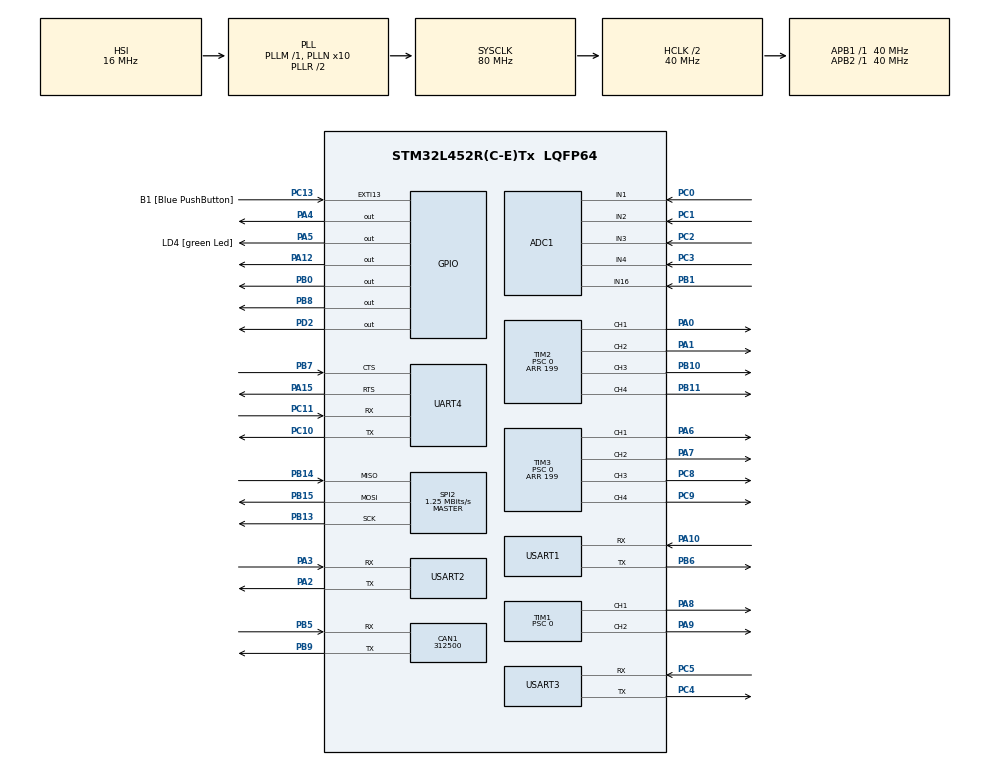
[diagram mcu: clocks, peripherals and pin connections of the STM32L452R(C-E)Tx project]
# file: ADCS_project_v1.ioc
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ADC1.Channel-0\#ChannelRegularConversion=ADC_CHANNEL_1
ADC1.Channel-1\#ChannelRegularConversion=ADC_CHANNEL_2
ADC1.Channel-2\#ChannelRegularConversion=ADC_CHANNEL_3
ADC1.Channel-3\#ChannelRegularConversion=ADC_CHANNEL_4
ADC1.Channel-4\#ChannelRegularConversion=ADC_CHANNEL_16
ADC1.ClockPrescaler=ADC_CLOCK_ASYNC_DIV2
ADC1.ContinuousConvMode=ENABLE
ADC1.DMAContinuousRequests=DISABLE
ADC1.NbrOfConversion=5
ADC1.NbrOfConversionFlag=1
ADC1.OffsetNumber-0\#ChannelRegularConversion=ADC_OFFSET_NONE
ADC1.OffsetNumber-1\#ChannelRegularConversion=ADC_OFFSET_NONE
ADC1.OffsetNumber-2\#ChannelRegularConversion=ADC_OFFSET_NONE
ADC1.OffsetNumber-3\#ChannelRegularConversion=ADC_OFFSET_NONE
ADC1.OffsetNumber-4\#ChannelRegularConversion=ADC_OFFSET_NONE
ADC1.OversamplingMode=ENABLE
ADC1.Rank-0\#ChannelRegularConversion=1
ADC1.Rank-1\#ChannelRegularConversion=2
ADC1.Rank-2\#ChannelRegularConversion=3
ADC1.Rank-3\#ChannelRegularConversion=4
ADC1.Rank-4\#ChannelRegularConversion=5
ADC1.Ratio=ADC_OVERSAMPLING_RATIO_16
ADC1.RightBitShift=ADC_RIGHTBITSHIFT_4
ADC1.SamplingTime-0\#ChannelRegularConversion=ADC_SAMPLETIME_2CYCLES_5
ADC1.SamplingTime-1\#ChannelRegularConversion=ADC_SAMPLETIME_2CYCLES_5
ADC1.SamplingTime-2\#ChannelRegularConversion=ADC_SAMPLETIME_2CYCLES_5
ADC1.SamplingTime-3\#ChannelRegularConversion=ADC_SAMPLETIME_2CYCLES_5
ADC1.SamplingTime-4\#ChannelRegularConversion=ADC_SAMPLETIME_2CYCLES_5
ADC1.master=1
CAN1.BS1=CAN_BS1_6TQ
CAN1.BS2=CAN_BS2_1TQ
CAN1.CalculateBaudRate=312500
CAN1.CalculateTimeBit=3200
CAN1.CalculateTimeQuantum=400.0
FREERTOS.BinarySemaphores01=setAttitudeSem,Static,setAttitudeSemControlBlock
FREERTOS.MEMORY_ALLOCATION=1
FREERTOS.Tasks01=defaultTask,0,128,StartDefaultTask,Default,NULL,Static,defaultTaskBuffer,defaultTaskControlBlock
FREERTOS.configUSE_TIMERS=1
Mcu.Family=STM32L4
Mcu.Name=STM32L452R(C-E)Tx
Mcu.Package=LQFP64
NVIC.PriorityGroup=NVIC_PRIORITYGROUP_4
NVIC.TIM6_DAC_IRQn=true\:15\:0\:false\:false\:true\:false\:false\:true\:true
NVIC.TimeBase=TIM6_DAC_IRQn
NVIC.TimeBaseIP=TIM6
NVIC.UART4_IRQn=true\:5\:0\:false\:false\:true\:true\:true\:true\:true
NVIC.USART1_IRQn=true\:5\:0\:false\:false\:true\:true\:true\:true\:true
NVIC.USART2_IRQn=true\:5\:0\:false\:false\:true\:true\:true\:true\:true
NVIC.USART3_IRQn=true\:5\:0\:false\:false\:true\:true\:true\:true\:true
PA0.Signal=S_TIM2_CH1
PA1.Signal=S_TIM2_CH2
PA10.Mode=Asynchronous
PA10.Signal=USART1_RX
PA12.PinState=GPIO_PIN_SET
PA12.Signal=GPIO_Output
PA13\ (JTMS/SWDIO).GPIO_Label=TMS
PA13\ (JTMS/SWDIO).Mode=Serial_Wire
PA13\ (JTMS/SWDIO).Signal=SYS_JTMS-SWDIO
PA14\ (JTCK/SWCLK).GPIO_Label=TCK
PA14\ (JTCK/SWCLK).Mode=Serial_Wire
PA14\ (JTCK/SWCLK).Signal=SYS_JTCK-SWCLK
PA15\ (JTDI).Mode=CTS_RTS
PA15\ (JTDI).Signal=UART4_RTS
PA2.Mode=Asynchronous
PA2.Signal=USART2_TX
PA3.Mode=Asynchronous
PA3.Signal=USART2_RX
PA4.Signal=GPIO_Output
PA5.GPIO_Label=LD4 [green Led]
PA5.GPIO_ModeDefaultOutputPP=GPIO_MODE_OUTPUT_PP
PA5.GPIO_PuPd=GPIO_NOPULL
PA5.GPIO_Speed=GPIO_SPEED_FREQ_LOW
PA5.Signal=GPIO_Output
PA6.Signal=S_TIM3_CH1
PA7.Signal=S_TIM3_CH2
PA8.Signal=S_TIM1_CH1
PA9.Signal=S_TIM1_CH2
PB0.Signal=GPIO_Output
PB1.Signal=ADCx_IN16
PB10.Signal=S_TIM2_CH3
PB11.Signal=S_TIM2_CH4
PB13.Mode=Full_Duplex_Master
PB13.Signal=SPI2_SCK
PB14.Mode=Full_Duplex_Master
PB14.Signal=SPI2_MISO
PB15.Mode=Full_Duplex_Master
PB15.Signal=SPI2_MOSI
PB3\ (JTDO/TRACESWO).GPIO_Label=SWO
PB3\ (JTDO/TRACESWO).Signal=SYS_JTDO-SWO
PB5.Mode=CAN_Activate
PB5.Signal=CAN1_RX
PB6.Mode=Asynchronous
PB6.Signal=USART1_TX
PB7.Mode=CTS_RTS
PB7.Signal=UART4_CTS
PB8.Signal=GPIO_Output
PB9.Mode=CAN_Activate
PB9.Signal=CAN1_TX
PC0.Signal=ADCx_IN1
PC1.Signal=ADCx_IN2
PC10.Mode=Asynchronous
PC10.Signal=UART4_TX
PC11.Mode=Asynchronous
PC11.Signal=UART4_RX
PC13.GPIO_Label=B1 [Blue PushButton]
PC13.GPIO_ModeDefaultEXTI=GPIO_MODE_IT_FALLING
PC13.GPIO_PuPd=GPIO_NOPULL
PC13.Signal=GPXTI13
PC2.Signal=ADCx_IN3
PC3.Signal=ADCx_IN4
PC4.Mode=Asynchronous
PC4.Signal=USART3_TX
PC5.Mode=Asynchronous
PC5.Signal=USART3_RX
PC8.Signal=S_TIM3_CH3
PC9.Signal=S_TIM3_CH4
PD2.Signal=GPIO_Output
ProjectManager.HeapSize=0x200
ProjectManager.StackSize=0x400
ProjectManager.TargetToolchain=STM32CubeIDE
RCC.ADCFreq_Value=32000000
RCC.AHBCLKDivider=RCC_SYSCLK_DIV2
RCC.AHBFreq_Value=40000000
RCC.APB1Freq_Value=40000000
RCC.APB1TimFreq_Value=40000000
RCC.APB2Freq_Value=40000000
RCC.APB2TimFreq_Value=40000000
RCC.CortexFreq_Value=40000000
RCC.FLatency-AdvancedSettings=FLASH_LATENCY_2
RCC.HCLKFreq_Value=40000000
RCC.HSE_VALUE=8000000
RCC.HSI48_VALUE=48000000
RCC.HSI_VALUE=16000000
RCC.LSE_VALUE=32768
RCC.MSI_VALUE=4000000
RCC.PLLN=10
RCC.PLLSAI1R=RCC_PLLR_DIV4
RCC.PLLSourceVirtual=RCC_PLLSOURCE_HSI
RCC.PREFETCH_ENABLE=1
RCC.SYSCLKFreq_VALUE=80000000
RCC.SYSCLKSource=RCC_SYSCLKSOURCE_PLLCLK
RCC.USBFreq_Value=64000000
RCC.VCOOutputFreq_Value=160000000
SH.ADCx_IN1.0=ADC1_IN1,IN1-Single-Ended
SH.ADCx_IN16.0=ADC1_IN16,IN16-Single-Ended
SH.ADCx_IN2.0=ADC1_IN2,IN2-Single-Ended
SH.ADCx_IN3.0=ADC1_IN3,IN3-Single-Ended
SH.ADCx_IN4.0=ADC1_IN4,IN4-Single-Ended
SH.S_TIM1_CH1.0=TIM1_CH1,PWM Generation1 CH1
SH.S_TIM1_CH2.0=TIM1_CH2,PWM Generation2 CH2
SH.S_TIM2_CH1.0=TIM2_CH1,PWM Generation1 CH1
SH.S_TIM2_CH2.0=TIM2_CH2,PWM Generation2 CH2
SH.S_TIM2_CH3.0=TIM2_CH3,PWM Generation3 CH3
SH.S_TIM2_CH4.0=TIM2_CH4,PWM Generation4 CH4
SH.S_TIM3_CH1.0=TIM3_CH1,PWM Generation1 CH1
SH.S_TIM3_CH2.0=TIM3_CH2,PWM Generation2 CH2
SH.S_TIM3_CH3.0=TIM3_CH3,PWM Generation3 CH3
SH.S_TIM3_CH4.0=TIM3_CH4,PWM Generation4 CH4
SPI2.BaudRatePrescaler=SPI_BAUDRATEPRESCALER_32
SPI2.CLKPhase=SPI_PHASE_1EDGE
SPI2.CLKPolarity=SPI_POLARITY_LOW
SPI2.CalculateBaudRate=1.25 MBits/s
SPI2.DataSize=SPI_DATASIZE_8BIT
SPI2.Direction=SPI_DIRECTION_2LINES
SPI2.Mode=SPI_MODE_MASTER
SPI2.VirtualType=VM_MASTER
TIM1.Channel-PWM\ Generation1\ CH1=TIM_CHANNEL_1
TIM1.Channel-PWM\ Generation2\ CH2=TIM_CHANNEL_2
TIM1.Period=199
TIM1.Prescaler=0
TIM2.Channel-PWM\ Generation1\ CH1=TIM_CHANNEL_1
TIM2.Channel-PWM\ Generation2\ CH2=TIM_CHANNEL_2
TIM2.Channel-PWM\ Generation3\ CH3=TIM_CHANNEL_3
TIM2.Channel-PWM\ Generation4\ CH4=TIM_CHANNEL_4
TIM2.Period=199
TIM2.Prescaler=0
TIM3.Channel-PWM\ Generation1\ CH1=TIM_CHANNEL_1
TIM3.Channel-PWM\ Generation2\ CH2=TIM_CHANNEL_2
TIM3.Channel-PWM\ Generation3\ CH3=TIM_CHANNEL_3
TIM3.Channel-PWM\ Generation4\ CH4=TIM_CHANNEL_4
TIM3.Period=199
TIM3.Prescaler=0
USART1.VirtualMode-Asynchronous=VM_ASYNC
USART2.VirtualMode-Asynchronous=VM_ASYNC
USART3.VirtualMode-Asynchronous=VM_ASYNC
VP_FREERTOS_VS_CMSIS_V1.Mode=CMSIS_V1
VP_SYS_VS_tim6.Mode=TIM6
VP_TIM1_VS_ClockSourceINT.Mode=Internal
VP_TIM2_VS_ClockSourceINT.Mode=Internal
VP_TIM3_VS_ClockSourceINT.Mode=Internal
board=NUCLEO-L452RE

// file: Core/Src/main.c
/* USER CODE BEGIN Header */
/**
  ******************************************************************************
  * @file           : main.c
  * @brief          : Main program body
  ******************************************************************************
  * @attention
  *
  * Copyright (c) 2024 STMicroelectronics.
  * All rights reserved.
  *
  * This software is licensed under terms that can be found in the LICENSE file
  * in the root directory of this software component.
  * If no LICENSE file comes with this software, it is provided AS-IS.
  *
  ******************************************************************************
  */
/* USER CODE END Header */
#include "main.h"
#include "cmsis_os.h"
#include "adc.h"
#include "can.h"
#include "spi.h"
#include "tim.h"
#include "usart.h"
#include "gpio.h"

void SystemClock_Config(void);
void MX_FREERTOS_Init(void);

int main(void)
{

  /* MCU Configuration--------------------------------------------------------*/

  /* Reset of all peripherals, Initializes the Flash interface and the Systick. */
  HAL_Init();

  /* Configure the system clock */
  SystemClock_Config();

  /* Initialize all configured peripherals */
  MX_GPIO_Init();
  MX_USART2_UART_Init();
  MX_UART4_Init();
  MX_USART1_UART_Init();
  MX_USART3_UART_Init();
  MX_CAN1_Init();
  MX_TIM1_Init();
  MX_TIM2_Init();
  MX_TIM3_Init();
  MX_ADC1_Init();
  MX_SPI2_Init();

  /* Call init function for freertos objects (in freertos.c) */
  MX_FREERTOS_Init();

  /* Start scheduler */
  osKernelStart();

  /* We should never get here as control is now taken by the scheduler */
  /* Infinite loop */
  while (1)
  {

  }
}

void SystemClock_Config(void)
{
  RCC_OscInitTypeDef RCC_OscInitStruct = {0};
  RCC_ClkInitTypeDef RCC_ClkInitStruct = {0};

  /** Configure the main internal regulator output voltage
  */
  if (HAL_PWREx_ControlVoltageScaling(PWR_REGULATOR_VOLTAGE_SCALE1) != HAL_OK)
  {
    Error_Handler();
  }

  /** Initializes the RCC Oscillators according to the specified parameters
  * in the RCC_OscInitTypeDef structure.
  */
  RCC_OscInitStruct.OscillatorType = RCC_OSCILLATORTYPE_HSI;
  RCC_OscInitStruct.HSIState = RCC_HSI_ON;
  RCC_OscInitStruct.HSICalibrationValue = RCC_HSICALIBRATION_DEFAULT;
  RCC_OscInitStruct.PLL.PLLState = RCC_PLL_ON;
  RCC_OscInitStruct.PLL.PLLSource = RCC_PLLSOURCE_HSI;
  RCC_OscInitStruct.PLL.PLLM = 1;
  RCC_OscInitStruct.PLL.PLLN = 10;
  RCC_OscInitStruct.PLL.PLLP = RCC_PLLP_DIV7;
  RCC_OscInitStruct.PLL.PLLQ = RCC_PLLQ_DIV2;
  RCC_OscInitStruct.PLL.PLLR = RCC_PLLR_DIV2;
  if (HAL_RCC_OscConfig(&RCC_OscInitStruct) != HAL_OK)
  {
    Error_Handler();
  }

  /** Initializes the CPU, AHB and APB buses clocks
  */
  RCC_ClkInitStruct.ClockType = RCC_CLOCKTYPE_HCLK|RCC_CLOCKTYPE_SYSCLK
                              |RCC_CLOCKTYPE_PCLK1|RCC_CLOCKTYPE_PCLK2;
  RCC_ClkInitStruct.SYSCLKSource = RCC_SYSCLKSOURCE_PLLCLK;
  RCC_ClkInitStruct.AHBCLKDivider = RCC_SYSCLK_DIV2;
  RCC_ClkInitStruct.APB1CLKDivider = RCC_HCLK_DIV1;
  RCC_ClkInitStruct.APB2CLKDivider = RCC_HCLK_DIV1;

  if (HAL_RCC_ClockConfig(&RCC_ClkInitStruct, FLASH_LATENCY_2) != HAL_OK)
  {
    Error_Handler();
  }
}

void HAL_TIM_PeriodElapsedCallback(TIM_HandleTypeDef *htim)
{
  if (htim->Instance == TIM6) {
    HAL_IncTick();
  }
}

void Error_Handler(void)
{
  __disable_irq();
  while (1)
  {
  }
}

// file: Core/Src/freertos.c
/* USER CODE BEGIN Header */
/**
  ******************************************************************************
  * File Name          : freertos.c
  * Description        : Code for freertos applications
  ******************************************************************************
  * @attention
  *
  * Copyright (c) 2024 STMicroelectronics.
  * All rights reserved.
  *
  * This software is licensed under terms that can be found in the LICENSE file
  * in the root directory of this software component.
  * If no LICENSE file comes with this software, it is provided AS-IS.
  *
  ******************************************************************************
  */
/* USER CODE END Header */

#include "FreeRTOS.h"
#include "task.h"
#include "main.h"
#include "cmsis_os.h"

/* USER CODE BEGIN Includes */
#include <stdio.h> //for printf()
#include <string.h> //for memcpy()
#include <stdbool.h>
#include <math.h>
#include "usart.h"
#include "sensors.h"
#include "pid_conversions.h"
#include "UARTdriver.h"
#include "spi.h"
#include "adc.h"
#include "MTi1.h"
#include "simpleDataLink.h"
#include "messages.h"
#include "actuator_driver.h"
#include "pid_conversions.h"
#include "queue.h"
#include "tim.h"
#include <stm32l452xx.h>
#include <malloc.h>
#include "queue_structs.h"
#include "constants.h"
/* USER CODE END Includes */

/* USER CODE BEGIN PTD */
Temp_values ntc_values;
PID_Inputs_struct PID_Inputs;
Actuator_struct Reaction1;
Actuator_struct Reaction2;
Actuator_struct MagneTorquer1;
Actuator_struct MagneTorquer2;
Actuator_struct MagneTorquer3;
/* USER CODE END PTD */

/* USER CODE BEGIN Variables */
uint8_t Channels_mask[NUM_DRIVERS] = {1,1,1,1,1};
uint8_t error_status = 0;

osThreadId FirstCheckTaskHandle;
uint32_t FirstCheckTaskBuffer[ stack_size ];//4096
osStaticThreadDef_t FirstCheckTaskControlBlock;

osThreadId ControlAlgorithmTaskHandle;
uint32_t ControlAlgorithmTaskBuffer[ stack_size ]; //4096
osStaticThreadDef_t ControlAlgorithmTaskControlBlock;

osThreadId IMUTaskHandle;
uint32_t IMUTaskBuffer[ stack_size]; //4096
osStaticThreadDef_t IMUTaskControlBlock;

osThreadId OBC_CommTaskHandle;
uint32_t OBC_CommTaskBuffer[ stack_size1 ]; //16384
osStaticThreadDef_t OBC_CommTaskControlBlock;

xSemaphoreHandle ADCSHouseKeepingMutex;
StaticSemaphore_t xADCSHouseKeepingMutexBuffer;
xSemaphoreHandle ControlMutex;
StaticSemaphore_t xControlMutexBuffer;
xSemaphoreHandle IMURead_ControlMutex;
StaticSemaphore_t xIMURead_ControlMutexBuffer;

osMessageQId ADCSHouseKeepingQueueHandle;
uint8_t ADCSHouseKeepingQueueBuffer[ 256 * sizeof( float ) ];
osStaticMessageQDef_t ADCSHouseKeepingQueueControlBlock;
osMessageQId IMUQueue1Handle;
uint8_t IMUQueue1Buffer[ 256 * sizeof( imu_queue_struct ) ];
osStaticMessageQDef_t IMUQueue1ControlBlock;
osMessageQId IMUQueue2Handle;
uint8_t IMUQueue2Buffer[ 256 * sizeof( imu_queue_struct ) ];
osStaticMessageQDef_t IMUQueue2ControlBlock;
osMessageQId setAttitudeADCSQueueHandle;
uint8_t setAttitudeADCSQueueBuffer[ 256 * sizeof( float ) ];
osStaticMessageQDef_t setAttitudeADCSQueueControlBlock;
osMessageQId setOpModeADCSQueueHandle;
uint8_t setOpModeADCSQueueBuffer[ 32 * sizeof( uint8_t ) ];
osStaticMessageQDef_t setOpModeADCSQueueControlBlock;

/* USER CODE END Variables */
osThreadId defaultTaskHandle;
uint32_t defaultTaskBuffer[ 128 ];
osStaticThreadDef_t defaultTaskControlBlock;

osSemaphoreId setAttitudeSemHandle;
osStaticSemaphoreDef_t setAttitudeSemControlBlock;

/* USER CODE BEGIN FunctionPrototypes */
void Check_current_temp(void const * argument);
void Control_Algorithm_Task(void const * argument);
void IMU_Task(void const * argument);
void OBC_Comm_Task(void const * argument);

//defining serial line I/O functions
//using UART driver
uint8_t txFunc1(uint8_t byte){
	return (sendDriver_UART(&huart1, &byte, 1)!=0);
}
uint8_t rxFunc1(uint8_t* byte){
	return (receiveDriver_UART(&huart1, byte, 1)!=0);
}

uint8_t txFunc4(uint8_t byte){
	return (sendDriver_UART(&huart4, &byte, 1)!=0);
}
uint8_t rxFunc4(uint8_t* byte){
	return (receiveDriver_UART(&huart4, byte, 1)!=0);
}

//defining tick function for timeouts
uint32_t sdlTimeTick(){
	return HAL_GetTick();
}

//defining putch to enable printf
#ifdef __GNUC__
#define PUTCHAR_PROTOTYPE int __io_putchar(int ch)
#else
#define PUTCHAR_PROTOTYPE int fputc(int ch, FILE *f)
#endif

/*PUTCHAR_PROTOTYPE{
   HAL_UART_Transmit(&huart2, (uint8_t *)&ch, 1, HAL_MAX_DELAY);
   return ch;
}*/
PUTCHAR_PROTOTYPE{
	uint8_t c=(uint8_t)ch;
	sendDriver_UART(&huart2,&c,1);
	return c;
}

/* USER CODE END FunctionPrototypes */

void StartDefaultTask(void const * argument);

void MX_FREERTOS_Init(void); /* (MISRA C 2004 rule 8.1) */

/* GetIdleTaskMemory prototype (linked to static allocation support) */
void vApplicationGetIdleTaskMemory( StaticTask_t **ppxIdleTaskTCBBuffer, StackType_t **ppxIdleTaskStackBuffer, uint32_t *pulIdleTaskStackSize );

/* GetTimerTaskMemory prototype (linked to static allocation support) */
void vApplicationGetTimerTaskMemory( StaticTask_t **ppxTimerTaskTCBBuffer, StackType_t **ppxTimerTaskStackBuffer, uint32_t *pulTimerTaskStackSize );

/* USER CODE BEGIN GET_IDLE_TASK_MEMORY */
static StaticTask_t xIdleTaskTCBBuffer;
static StackType_t xIdleStack[configMINIMAL_STACK_SIZE];

void vApplicationGetIdleTaskMemory( StaticTask_t **ppxIdleTaskTCBBuffer, StackType_t **ppxIdleTaskStackBuffer, uint32_t *pulIdleTaskStackSize )
{
  *ppxIdleTaskTCBBuffer = &xIdleTaskTCBBuffer;
  *ppxIdleTaskStackBuffer = &xIdleStack[0];
  *pulIdleTaskStackSize = configMINIMAL_STACK_SIZE;
  /* place for user code */
}
/* USER CODE END GET_IDLE_TASK_MEMORY */

/* USER CODE BEGIN GET_TIMER_TASK_MEMORY */
static StaticTask_t xTimerTaskTCBBuffer;
static StackType_t xTimerStack[configTIMER_TASK_STACK_DEPTH];

void vApplicationGetTimerTaskMemory( StaticTask_t **ppxTimerTaskTCBBuffer, StackType_t **ppxTimerTaskStackBuffer, uint32_t *pulTimerTaskStackSize )
{
  *ppxTimerTaskTCBBuffer = &xTimerTaskTCBBuffer;
  *ppxTimerTaskStackBuffer = &xTimerStack[0];
  *pulTimerTaskStackSize = configTIMER_TASK_STACK_DEPTH;
  /* place for user code */
}
/* USER CODE END GET_TIMER_TASK_MEMORY */

void MX_FREERTOS_Init(void) {
  /* USER CODE BEGIN Init */

	initDriver_UART();
	//UART1 = for printf
	addDriver_UART(&huart2,USART2_IRQn,keep_old);
	//UART1 = for OBC communication
	addDriver_UART(&huart1,USART1_IRQn,keep_old);
	//UART1 = for IMU
	addDriver_UART(&huart4,UART4_IRQn,keep_new);
	//UART3 = for Sun Sensors Acquisition
	//addDriver_UART(&huart3,USART3_IRQn,keep_old);

  /* USER CODE END Init */

  /* USER CODE BEGIN RTOS_MUTEX */
  /* add mutexes, ... */
	ControlMutex = xSemaphoreCreateMutexStatic(&xControlMutexBuffer);
	configASSERT(ControlMutex);
	xSemaphoreGive(ControlMutex);
	IMURead_ControlMutex = xSemaphoreCreateMutexStatic(&xIMURead_ControlMutexBuffer);
	configASSERT(IMURead_ControlMutex);
	xSemaphoreGive(IMURead_ControlMutex);

  /* USER CODE END RTOS_MUTEX */

  /* Create the semaphores(s) */
  /* definition and creation of setAttitudeSem */
	osSemaphoreStaticDef(setAttitudeSem, &setAttitudeSemControlBlock);
	setAttitudeSemHandle = osSemaphoreCreate(osSemaphore(setAttitudeSem), 1);

  /* USER CODE BEGIN RTOS_QUEUES */
  /* add queues, ... */
  /* definition and creation of IMUQueue1 */
	osMessageQStaticDef(IMUQueue1, 512, uint32_t,IMUQueue1Buffer, &IMUQueue1ControlBlock);
	IMUQueue1Handle = osMessageCreate(osMessageQ(IMUQueue1), NULL);
  /* definition and creation of IMUQueue2 */
	osMessageQStaticDef(IMUQueue2, 512, uint32_t, IMUQueue2Buffer, &IMUQueue2ControlBlock);
	IMUQueue2Handle = osMessageCreate(osMessageQ(IMUQueue2), NULL);
  /* definition and creation of ADCSHouseKeepingQueue */
	osMessageQStaticDef(ADCSHouseKeepingQueue, 512, uint32_t, ADCSHouseKeepingQueueBuffer, &ADCSHouseKeepingQueueControlBlock);
	ADCSHouseKeepingQueueHandle = osMessageCreate(osMessageQ(ADCSHouseKeepingQueue), NULL);
  /* definition and creation of setAttitudeADCSQueue */
	osMessageQStaticDef(setAttitudeADCSQueue, 512, uint32_t,setAttitudeADCSQueueBuffer, &setAttitudeADCSQueueControlBlock);
	setAttitudeADCSQueueHandle = osMessageCreate(osMessageQ(setAttitudeADCSQueue), NULL);
  /* definition and creation of setOpModeADCSQueue */
	osMessageQStaticDef(setOpModeADCSQueue, 32, uint32_t,setOpModeADCSQueueBuffer, &setOpModeADCSQueueControlBlock);
	setOpModeADCSQueueHandle = osMessageCreate(osMessageQ(setOpModeADCSQueue), NULL);

  /* USER CODE END RTOS_QUEUES */

  /* Create the thread(s) */
  /* definition and creation of defaultTask */
	osThreadStaticDef(defaultTask, StartDefaultTask, osPriorityNormal, 0, 128, defaultTaskBuffer, &defaultTaskControlBlock);
	defaultTaskHandle = osThreadCreate(osThread(defaultTask), NULL);

  /* USER CODE BEGIN RTOS_THREADS */
  /* add threads, ... */
  /* definition and creation of FirstCheckTask */
    osThreadStaticDef(FirstCheckTask, Check_current_temp, osPriorityAboveNormal, 0, stack_size, FirstCheckTaskBuffer, &FirstCheckTaskControlBlock);
  	FirstCheckTaskHandle = osThreadCreate(osThread(FirstCheckTask), NULL);
  /* definition and creation of ControlAlgorithmTask */
	osThreadStaticDef(ControlAlgorithmTask, Control_Algorithm_Task, osPriorityNormal, 0,stack_size, ControlAlgorithmTaskBuffer, &ControlAlgorithmTaskControlBlock);
	ControlAlgorithmTaskHandle = osThreadCreate(osThread(ControlAlgorithmTask), NULL);
  /* definition and creation of IMUTask */
	osThreadStaticDef(IMUTask, IMU_Task, osPriorityNormal, 0,stack_size, IMUTaskBuffer, &IMUTaskControlBlock);
	IMUTaskHandle = osThreadCreate(osThread(IMUTask), NULL);
  /* definition and creation of OBC_CommTaskHandle */
	osThreadStaticDef(OBC_CommTask, OBC_Comm_Task, osPriorityAboveNormal, 0,stack_size1, OBC_CommTaskBuffer, &OBC_CommTaskControlBlock);
	OBC_CommTaskHandle = osThreadCreate(osThread(OBC_CommTask), NULL);

  /* USER CODE END RTOS_THREADS */

}

void StartDefaultTask(void const * argument)
{
  for(;;)
  {
    osDelay(1);
  }
}

/* USER CODE BEGIN Application */

void Check_current_temp(void const * argument)
{
  /* USER CODE BEGIN Check_pwr_temp */
	//declaring serial line
	//static serial_line_handle line;
	//Inizialize Serial Line for UART3
	//sdlInitLine(&line,&txFunc3,&rxFunc3,50,2);
	init_tempsens_handler(&ntc_values);
	volatile float currentbuf[NUM_ACTUATORS],voltagebuf[NUM_ACTUATORS];
	Current_Temp_Struct *local_current_temp_struct = (Current_Temp_Struct*) malloc(sizeof(Current_Temp_Struct));
	static uint8_t count = 0;

	/*Start calibration */
	if (HAL_ADCEx_Calibration_Start(&hadc1, ADC_SINGLE_ENDED) !=  HAL_OK)
	{
#if enable_printf
	  	printf("Error with ADC: not calibrated correctly \n");
#endif
	}

	/* Infinite loop */
	for(;;)
	{
		//volatile float prev = HAL_GetTick();
		//printf("We are in CHECK TASK \n");
#if enable_printf
		//printf("We are in CHECK TASK \n");
#endif
		//----------------------------------------------------------------------

		//GET TEMPERATURES------------------------------------------------------
		//float prev1 = HAL_GetTick();
		get_temperatures(&hspi2,&ntc_values,count);
		//float next1 = HAL_GetTick();
		//printf("Execussion of get_temperatures: %.1f ms\n",next1-prev1);
		count ++;
		//----------------------------------------------------------------------

		//GET ACTUATORS CURRENT
		get_actuator_current(&hadc1,voltagebuf,currentbuf,Channels_mask);
		/*for(int i=0;i<NUM_DRIVERS;i++)
		{
			printf("Actuator %d current value: %f",i,currentbuf[i]);
		}*/
		//----------------------------------------------------------------------

		//CHECK IF THEY ARE OK
		/*for(int i=0;i<NUM_ACTUATORS;i++)
		{
			if(i>=0 && i<2)
			{
				//Check Reaction Wheels currents
				if(current_buf[i] > 1.0f) //> 1A
				{
					printf("MAgnetorquer %d current value: %f is above threshold!!!! ",i,currentbuf[i]);
					error_status = 5;
				}
			}
			else{
				//Check MagneTorquers currents
				if(current_buf[i] > 0.05f) // >50mA
				{
					printf("Magnetorquer %d current value: %f is above threshold!!!! ",i,currentbuf[i]);
					error_status = 4;
				}
			}
		}

		for(int i=0;i<NUM_TEMP_SENS;i++)
		{
			if(ntc_values.temp[i]>50) //>50 gradi
			{
				printf("Temp %d value: %f is above threshold!!!! ",i,ntc_values.temp[i]);
				error_status = 3;
			}

		}
		 */
		switch(error_status)
		{
			case 0:
				//ALL IS OK
				//Send Housekeeping to OBC task

				if (local_current_temp_struct == NULL) {
#if enable_printf
					   printf("IMU TASK: allocazione struttura fallita !\n");
#endif
				}
				else
				{
					if(count == 8)
					{
						for(int i=0;i<NUM_ACTUATORS;i++)
						{
							local_current_temp_struct->current[i] = currentbuf[i];
#if enable_printf
							printf("Task check: Current n%d,value: %f,current vect:%f \n",i+1,local_current_temp_struct->current[i],currentbuf[i]);
#endif
			    		}
						for(int i=NUM_ACTUATORS;i<NUM_TEMP_SENS+NUM_ACTUATORS;i++)
						{
							local_current_temp_struct->temperature[i - NUM_ACTUATORS] = ntc_values.temp[i - NUM_ACTUATORS];
#if enable_printf
							printf("Task check: Temperature n%d,ntc value: %f,value: %f \n",i-4,ntc_values.temp[i-NUM_ACTUATORS],local_current_temp_struct->temperature[i-NUM_ACTUATORS]);
#endif
						}

						//Invio queue a OBC Task
						if (osMessagePut(ADCSHouseKeepingQueueHandle,(uint32_t)local_current_temp_struct,300) != osOK) {
#if enable_printf
			    		   	printf("Invio a OBC Task fallito \n");
#endif
			       			free(local_current_temp_struct); // Ensure the receiving task has time to process
						} else {
#if enable_printf
			    		    printf("Dati Inviati a OBC Task\n");
#endif
						}
						count = 0;
					}
				}
				break;
			case 1:
				break;
			case 2:
				break;
			case 3:
				//PROBLEM WITH TEMPERATURE SENSORS
				//Fare partire un interrupt
				break;
			case 4:
				//PROBLEM WITH MAGNETORQUERS
				//Fare partire un interrupt
				break;
			case 5:
				//PROBLEM WITH REACTION WHEELS
				//Fare partire un interrupt
				break;

		}
		//volatile next = HAL_GetTick();
		//printf("Execussion of check task: %.1f ms\n",next-prev);
	    osDelay(300);
	  }
  /* USER CODE END Check_pwr_temp */
}

void OBC_Comm_Task(void const * argument)
{
  /* USER CODE BEGIN OBC_Comm_Task */
	static serial_line_handle line1;
	//Inizialize Serial Line for UART1
	sdlInitLine(&line1,&txFunc1,&rxFunc1,50,2);

	uint8_t opmode=0;
	uint32_t rxLen;

	setAttitudeADCS *RxAttitude = (setAttitudeADCS*) malloc(sizeof(setAttitudeADCS));
	housekeepingADCS TxHousekeeping;
	attitudeADCS TxAttitude;
	setOpmodeADCS RxOpMode;
	//opmodeADCS TxOpMode;
	osEvent retvalue1,retvalue;
	uint8_t cnt1 = 0,cnt2 = 0;
	char rxBuff[SDL_MAX_PAY_LEN];

  /* Infinite loop */
  for(;;)
  {
	  //printf("We are in OBC TASK \n");
#if enable_printf
	  //printf("We are in OBC TASK \n");
#endif
	  /*-------------------RECEIVE FROM OBC-------------------------*/
	  //trying to receive a message
	  rxLen=sdlReceive(&line1,(uint8_t *)rxBuff,sizeof(rxBuff));
	  if(rxLen){
#if enable_printf
	  	printf("OBC TASK: Received %lu bytes !!!!!!!!!!!!\n",rxLen);
#endif
	  	if(rxBuff[0]==SETOPMODEADCS_CODE && rxLen==sizeof(setOpmodeADCS)){
#if enable_printf
	  		printf("Received setOpmodeADCS message\n");
#endif
	  		//setOpmodeADCS msgStruct;
	  		memcpy(&RxOpMode,rxBuff,sizeof(setOpmodeADCS));
	  		opmode=RxOpMode.opmode;
#if enable_printf
	  		printf("Opmode changed to %u\n",opmode);
#endif
	  	}else if(rxBuff[0]==SETATTITUDEADCS_CODE && rxLen==sizeof(setAttitudeADCS)){
#if enable_printf
  			printf("OBC TASK:Received setAttitudeADCS message!!!!!!!!!\n");
#endif
  			//do something...
  			//Send opMode = setattitudeadcs to Control Task
			if (RxAttitude == NULL) {
#if enable_printf
					   printf("OBC TASK: allocazione struttura RxAttitude fallita !\n");
#endif
			}
			else
			{
				memcpy(RxAttitude,rxBuff,sizeof(setAttitudeADCS));
#if enable_printf
				printf("Desired Angular velocity in x: %f \n",RxAttitude->deltaomega_x);
				printf("Desired Angular velocity in y: %f \n",RxAttitude->deltaomega_y);
				printf("Desired Angular velocity in z: %f \n",RxAttitude->deltaomega_z);
				printf("Desired Magn Field in x: %f \n",RxAttitude->deltab_x);
				printf("Desired Magn Field in y: %f \n",RxAttitude->deltab_y);
				printf("Desired Magn Field in z: %f \n",RxAttitude->deltab_z);
#endif
				//Send Attitude Queue to Control Task
			 	if (osMessagePut(setAttitudeADCSQueueHandle,(uint32_t)RxAttitude,200) != osOK) {
#if enable_printf
			    	printf("Invio a Control Task fallito \n");
#endif
			       	free(RxAttitude); // Ensure the receiving task has time to process
				} else {
#if enable_printf
			        printf("Dati Inviati a Control Task\n");
#endif
			 	}
			}

	  	}else if(rxBuff[0]==ATTITUDEADCS_CODE && rxLen==sizeof(attitudeADCS)){
#if enable_printf
  			printf("Received attitudeADCS message\n");
#endif
  			//do something...
  			//(in theory this should never arrive to ADCS)
	  	}else if(rxBuff[0]==HOUSEKEEPINGADCS_CODE && rxLen==sizeof(housekeepingADCS)){
#if enable_printf
  			printf("Received housekeepingADCS message\n");
#endif
  			//do something...
  			//(in theory this should never arrive to ADCS)
	  	}else if(rxBuff[0]==OPMODEADCS_CODE && rxLen==sizeof(opmodeADCS)){
#if enable_printf
  			printf("Received opmodeADCS message\n");
#endif
  			//do something...
  			//(in theory this should never arrive to ADCS)
	  	}else{
#if enable_printf
  			printf("Message not recognized %u %lu\n",rxBuff[0],rxLen);
#endif
  		}
  	}
	  else
	  {
		  //printf("Didn't receive any packet \n");
#if enable_printf
		  printf("OBC TASK:  Message not recognized %u %lu\n",rxBuff[0],rxLen);
#endif
	  }

	 /*-------------------SEND TO OBC-------------------------*/
	//sampling
	  /* in theory here we should sample values and fill telemetry structures
	  telemetryStruct.temp1=...;
	  telemetryStruct.speed=...;
	  .....*/

	 //Receive HouseKeeping sensor values via Queue
	retvalue = osMessageGet(ADCSHouseKeepingQueueHandle,300);

	//printf("OBC Task: Tick_Time: %lu \n",HAL_GetTick());

	if (retvalue.status == osEventMessage)
	{
		cnt1++;
		processCombinedData((void*)&retvalue,(void *)&TxHousekeeping,receive_Current_Tempqueue_OBC);
		//attitude sampling
		//in this case we just send the local copy of the structure
		//ALWAYS remember to set message code (use the generated defines

		//printf("OBC: Trying to send attitude \n");
		//finally we send the message
		if(cnt1 == 1)
		{
			printf("OBC TASK: after 5 counts: %lu \n",HAL_GetTick());
			TxAttitude.code=ATTITUDEADCS_CODE;
			TxAttitude.ticktime=HAL_GetTick();
		if(sdlSend(&line1,(uint8_t *)&TxAttitude,sizeof(attitudeADCS),1)){
#if enable_printf
			printf("OBC : sent attitudeADCS bytes:%d \n",sizeof(attitudeADCS));
#endif
			/*sentAttitudeMessages++;
			if(sentAttitudeMessages==5)
			{
				printf("OBC: Sent %lu attitudeADCS messages bytes:%d\n",sentAttitudeMessages,sizeof(attitudeADCS));
				sentAttitudeMessages=0;
			}*/
			for(uint32_t y=0;y<sizeof(attitudeADCS);y++){
					//printf("%02x",((uint8_t *)&localAttitude)[y]);
			}
		}
		else{
#if enable_printf
			printf("OBC: Failed to send attitudeADCS \n");
#endif

		}
		cnt1 = 0;
		}
	}

	//Receive Telemetry IMU via Queue
	retvalue1 = osMessageGet(IMUQueue2Handle, 300);

	if (retvalue1.status == osEventMessage)
	{
		cnt2++;
		processCombinedData((void*)&retvalue1,(void *)&TxAttitude,receive_IMUqueue_OBC);
		//in this case we just fill the structure with random values
		//ALWAYS remember to set message code (use the generated defines
		if(cnt2 == 3)
		{
			printf("OBC TASK: after 7 counts: %lu \n",HAL_GetTick());
			TxHousekeeping.code=HOUSEKEEPINGADCS_CODE;
			TxHousekeeping.ticktime=HAL_GetTick();
			//printf("OBC: Trying to send housekeeping \n");
			//finally we send the message
		if(sdlSend(&line1,(uint8_t *)&TxHousekeeping,sizeof(housekeepingADCS),1))
		{
#if enable_printf
		  	printf("OBC: Sent housekeepingADCS bytes:%d \n",sizeof(housekeepingADCS));
#endif
		 	for(uint32_t y=0;y<sizeof(housekeepingADCS);y++){
		// 		printf("%02x",((uint8_t *)&TxHousekeeping)[y]);
			  }
		}
		else{
#if enable_printf
			printf("OBC: Failed to send housekeepingADCS \n");
#endif
		}
		cnt2 = 0;
		}

	}

	opmodeADCS opmodeMsg;
	opmodeMsg.opmode=opmode;
	//ALWAYS remember to set message code (use the generated defines
	opmodeMsg.code=OPMODEADCS_CODE;
	//finally we send the message (WITH ACK REQUESTED)
	//printf("OBC: Trying to send opmodeADCS \n");
	if(sdlSend(&line1,(uint8_t *)&opmodeMsg,sizeof(opmodeADCS),1))
	{
#if enable_printf
	  	printf("OBC : Sent opmodeADCS bytes:%d \n",sizeof(opmodeADCS));
#endif
	  for(uint32_t y=0;y<sizeof(opmodeADCS);y++){
	  	//printf("%02x",((uint8_t *)&opmodeMsg)[y]);
	  }
	//  printf("\n");
	}
	else{
#if enable_printf
		printf("OBC: Failed to send opmodeADCS \n");
#endif
	}

  	osDelay(400);
  }
  /* USER CODE END OBC_Comm_Task */
}

void Control_Algorithm_Task(void const * argument)
{
  /* USER CODE BEGIN Control_Algorithm_Task */
	uint8_t flag = 0;
	osEvent retvalue,retvalue1;

	//Inizialize actuators struct
	init_actuator_handler(&Reaction1,&htim1,TIM_CHANNEL_1,TIM_CHANNEL_2,100000,50); //100 khz
	init_actuator_handler(&Reaction2,&htim2,TIM_CHANNEL_3,TIM_CHANNEL_4,20000,50);
	init_actuator_handler(&MagneTorquer1,&htim3,TIM_CHANNEL_1,TIM_CHANNEL_2,89000,50); //89 khz
	init_actuator_handler(&MagneTorquer2,&htim3,TIM_CHANNEL_3,TIM_CHANNEL_4,10000,50);
	init_actuator_handler(&MagneTorquer3,&htim2,TIM_CHANNEL_1,TIM_CHANNEL_2,94000,50); //94 khz

	//Inizialize PID struct
	PID_INIT(&PID_Inputs);

	/* Infinite loop */
	for(;;)
	{
		//printf("We are in Control Algorithm TASK \n");
#if enable_printf
		//printf("We are in Control Algorithm TASK \n");
#endif
		//Receive Telemetry IMU via Queue

		retvalue1 = osMessageGet(setAttitudeADCSQueueHandle,200);
		processCombinedData((void*)&retvalue1,(void *)&PID_Inputs,receive_Attitudequeue_control);

		retvalue = osMessageGet(IMUQueue1Handle, 300);
		processCombinedData((void*)&retvalue,(void *)&PID_Inputs,receive_IMUqueue_control);

		//ALGORITHM
		//PID_main(&PID_Inputs);

		//Update PWM values
		//X Magnetorquer

		if(!flag)
		{
//			actuator_START(&Reaction1);
//			actuator_START(&Reaction2);
//			actuator_START(&MagneTorquer1);
//			actuator_START(&MagneTorquer2);
//			actuator_START(&MagneTorquer3);
			flag = 1;
		}

		//No change dir:
		//update_duty_dir(&Reaction1,50,0);
		//Change dir :
		//update_duty_dir(&MagneTorquer1,70,1);

		//X Magnetorquer
		//Change dir :
		//update_duty_dir(&MagneTorquer1,PID_Inputs.th_Dutycycle[0],1);
		//No change dir:
		//update_duty_dir(&MagneTorquer1,PID_Inputs.th_Dutycycle[0],0);
		//Y Magnetorquer
		//Change dir :
		//update_duty_dir(&MagneTorquer1,PID_Inputs.th_Dutycycle[1],1);
		//No change dir:
		//update_duty_dir(&MagneTorquer1,PID_Inputs.th_Dutycycle[1],0);
		//Z Magnetorquer
		//Change dir :
		//update_duty_dir(&MagneTorquer1,PID_Inputs.th_Dutycycle[2],1);
		//No change dir:
		//update_duty_dir(&MagneTorquer1,PID_Inputs.th_Dutycycle[2],0);

		/*if (xSemaphoreTake(IMURead_ControlMutex, (TickType_t)10) == pdTRUE) //If control don't read IMU
		{
			printf("Control Task : Taken IMURead_ControlMutex control");
			//Spegnere i magnetorquer
			xSemaphoreGive(IMURead_ControlMutex);
			printf("Control Task : Released IMURead_ControlMutex control");
		}
		*/
		osDelay(500);
	}
  /* USER CODE END Control_Algorithm_Task */
}

void IMU_Task(void const * argument)
{
  /* USER CODE BEGIN IMU_Task */
#if enable_printf
	printf("Initializing IMU \n");
#endif
	//uint8_t ret = 1;
	uint8_t ret = initIMUConfig(&huart4);
#if enable_printf
	if(ret) printf("IMU correctly configured \n");
	else printf("Error configuring IMU \n");
#endif

	float gyro[3]={1,2,3};
	float mag[3]={4,5,6};
	imu_queue_struct *local_imu_struct =(imu_queue_struct*) malloc(sizeof(imu_queue_struct));

	/* Infinite loop */
	for(;;)
	{
		//printf("We are in IMU TASK \n");
#if enable_printf
		//printf("We are in IMU TASK \n");
#endif

		//Non c'è bisogno di settare o resettare il CTS e l'RTS della UART4 per IMU perchè le funzioni
		//UART_Transmit e UART_Receive gestiscono la cosa automaticamente se dall'altro lato il dispositivo ha abilitato pure
		//queste due linee per l'UART
		//Se voglio far comunicare IMU e Nucleo con solo le 2 linee UART tx ed Rx basta che disabilito l'hardware flow control
		//da CubeMx.

		ret=readIMUPacket(&huart4, gyro, mag, 500); //mag measured in Gauss(G) unit -> 1G = 10^-4 Tesla
		mag[0]/=10000; //1G = 10^-4 Tesla
		mag[1]/=10000; //1G = 10^-4 Tesla
		mag[2]/=10000; //1G = 10^-4 Tesla
		/*if (xSemaphoreTake(IMURead_ControlMutex, (TickType_t)10) == pdTRUE)//If reading IMU DO NOT CONTROL
		{
			printf("IMU Task : Taken IMURead_Control control");
			ret=readIMUPacket(&huart4, gyro, mag, 50);
			xSemaphoreGive(IMURead_ControlMutex);
			printf("IMU Task : Released IMURead_Control control");
		}*/
		if(ret)
		{
#if enable_printf
			printf("IMU correctly sampled:\n ");
			printf("IMU: Giro x: %f,Giro y: %f,Giro z: %f \n",gyro[0],gyro[1],gyro[2]);
			printf("IMU: Magn x: %f,Magn y: %f,Magn z: %f \n",mag[0],mag[1],mag[2]);
#endif
			/*for(uint32_t field=0; field<3;field++){
					printf("%f \t",gyro[field]);
			}
			printf("\nMagnetometer: ");
			for(uint32_t field=0; field<3;field++){
				printf("%f \t",mag[field]);
			}
			printf("\n");*/

			if (local_imu_struct == NULL) {
#if enable_printf
					   printf("IMU TASK: allocazione struttura fallita !\n");
#endif
			}
			else
			{
				//Riempio struct con valori letti da IMU,per poi inviareli a Task Controllo
				for (int i = 0; i < 3; i++)
				{
					local_imu_struct->gyro_msr[i] = gyro[i];
#if enable_printf
					//printf("IMU TASK: Giro[%d] : %f \n",i,local_imu_struct->gyro_msr[i]);
#endif
					local_imu_struct->mag_msr[i] = mag[i];
#if enable_printf
					//printf("IMU TASK: Magn Field[%d] : %f \n",i,local_imu_struct->mag_msr[i]);
#endif
				}

				//Invio queue a Control Task
			 	if (osMessagePut(IMUQueue1Handle,(uint32_t)local_imu_struct,300) != osOK) {
#if enable_printf
			    	printf("Invio a Control Task fallito \n");
#endif
			       	free(local_imu_struct); // Ensure the receiving task has time to process
				} else {
#if enable_printf
			        printf("Dati Inviati a Control Task \n");
#endif
			 	}
			 	//Invio queue a OBC Task
			 	if (osMessagePut(IMUQueue2Handle,(uint32_t)local_imu_struct,300) != osOK) {
#if enable_printf
			    	printf("Invio a OBC Task fallito \n");
#endif
			       	free(local_imu_struct); // Ensure the receiving task has time to process
			 	} else {
#if enable_printf
			    	printf("Dati a Control Inviati \n");
#endif
				}
			}
		}
		else
#if enable_printf
			printf("IMU: Error configuring IMU \n");
#endif
		osDelay(1000);
	}
  /* USER CODE END IMU_Task */
}
/* USER CODE END Application */
